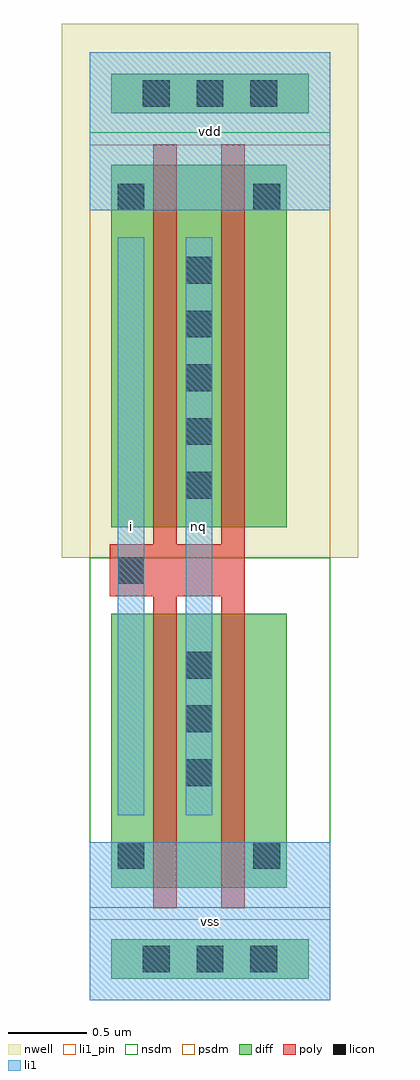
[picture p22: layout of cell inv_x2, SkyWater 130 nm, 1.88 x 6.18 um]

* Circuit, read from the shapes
.subckt inv_x2 i nq vdd vss
XM1 nq i vss VSUBS sky130_fd_pr__nfet_01v8 w=1.735 l=0.15 m=2
XM2 nq i vdd n1 sky130_fd_pr__pfet_01v8 w=2.295 l=0.15 m=2
.ends

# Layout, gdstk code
import gdstk
lib = gdstk.Library(unit=1e-6, precision=1e-09)
def R(c, l, rs):  # rectangles x0, y0, x1, y1
    for r in rs: c.add(gdstk.rectangle(r[:2], r[2:], *l))
def A(c, l, x, y, w, h, nx, ny, dx, dy):  # array of equal rectangles
    R(c, l, [(x+i*dx, y+j*dy, x+i*dx+w, y+j*dy+h) for i in range(nx) for j in range(ny)])
def P(c, l, *ps):  # polygons
    for p in ps: c.add(gdstk.Polygon(p, *l))
nwell = (64, 20)
diff = (65, 20)
poly = (66, 20)
licon = (66, 44)
li1_pin = (67, 16)
li1 = (67, 20)
nsdm = (93, 44)
psdm = (94, 20)

inv_x2 = lib.new_cell('inv_x2')
R(inv_x2, nwell, [(-0.18,2.8,1.7,6.18)])
R(inv_x2, diff, [(0.135,0.135,1.385,0.385), (0.135,0.71,1.245,2.445), (0.135,2.995,1.245,5.29), (0.135,5.615,1.385,5.865)])
P(inv_x2, poly, [(0.4,0.58),(0.4,2.555),(0.125,2.555),(0.125,2.885),(0.4,2.885),(0.4,5.42),(0.55,5.42),(0.55,2.885),(0.83,2.885),(0.83,5.42),(0.98,5.42),(0.98,0.58),(0.83,0.58),(0.83,2.555),(0.55,2.555),(0.55,0.58)])
A(inv_x2, licon, 0.335, 0.175, 0.17, 0.17, 3, 2, 0.34, 5.48)
A(inv_x2, licon, 0.605, 1.355, 0.17, 0.17, 1, 3, 0, 0.34)
A(inv_x2, licon, 0.605, 3.175, 0.17, 0.17, 1, 5, 0, 0.34)
R(inv_x2, licon, [(0.175,0.83,0.345,1), (1.035,0.83,1.205,1), (0.175,2.635,0.345,2.805), (0.175,5,0.345,5.17), (1.035,5,1.205,5.17)])
R(inv_x2, li1_pin, [(0,0,1.52,1), (0.175,1.17,0.345,4.83), (0.605,1.17,0.775,4.83), (0,5,1.52,6)])
R(inv_x2, li1, [(0,0,1.52,1), (0.175,1.17,0.345,4.83), (0.605,1.17,0.775,4.83), (0,5,1.52,6)])
R(inv_x2, nsdm, [(0,0.585,1.52,2.8), (0,5.49,1.52,6)])
R(inv_x2, psdm, [(0,0,1.52,0.51), (0,2.8,1.52,5.415)])
inv_x2.add(gdstk.Label('vss', (0.76,0.5), layer=67, texttype=16))
inv_x2.add(gdstk.Label('vdd', (0.76,5.5), layer=67, texttype=16))
inv_x2.add(gdstk.Label('nq', (0.69,3), layer=67, texttype=16))
inv_x2.add(gdstk.Label('i', (0.26,3), layer=67, texttype=16))

lib.write_gds('inv_x2.gds')
